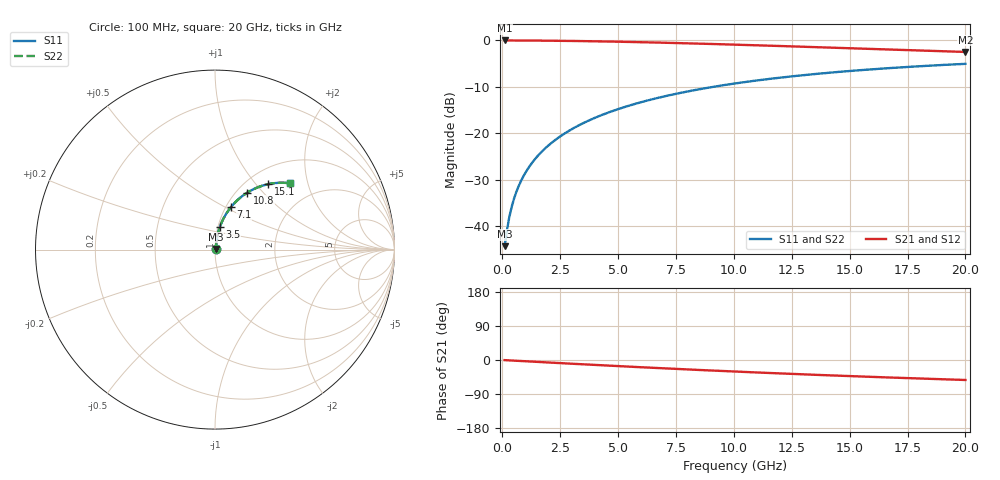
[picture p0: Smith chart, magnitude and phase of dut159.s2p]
! Touchstone file exported from HFSS 2024.1.0
!  File:  C:/UserFiles/LocalFiles/RDL_TSV_Batchsim/temp_RDL_bottom_159_1778697743.aedt
!  Generated:  02:44:59 AM May 14, 2026
!  Design:  RDL_bottom
!  Project:  temp_RDL_bottom_159_1778697743
!  Setup:  Setup1
!  Solution:  Sweep
! Variables:
!  dtsv = 10.80580581um
!  hbump = 3um
!  htsv = 70.64um
!  ldown = 687.54um
!  lrdl = 100um
!  p = 40
!  p1 = 58.94um
!  rhole = 1um
!  t = 450um
!  tdown = 3.98um
!  trdl = 3.915915916um
!  wdown = 12.89um
!  wrdl = 20um
# GHz S MA R 50.000000
! Terminal data exported
! Port[1] = RDL1_T1
! Port[2] = RDL1_T2
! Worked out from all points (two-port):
!   200 points, 100 MHz to 20 GHz, reference 50 ohm
!   highest |S21| = -0.04 dB at 100 MHz (marker M1); lowest = -2.5 dB at 20 GHz (marker M2)
!   |S21| within 3 dB of the highest: start of sweep to end of sweep
!   lowest |S11| = -44.2 dB at 100 MHz (marker M3), VSWR 1.01, Z = 50.5 + j0.387 ohm
!   |S11| at or under -10 dB: start of sweep to 9.118 GHz
!   |S22| runs from -44.2 to -5.1 dB; largest |S21 - S12| = 8.1e-15
!   S11 on the Smith chart (normalised r, x): 100 MHz: 1.01, +0.01; 3.5 GHz: 1.02, +0.26; 7.1 GHz: 1.06, +0.53; 10.8 GHz: 1.12, +0.82; 15.1 GHz: 1.24, +1.16; 20 GHz: 1.45, +1.56
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0.1  0.006143 38.6  0.9952 -0.3  0.9952 -0.3  0.006143 38.6
! Gamma 0 0 0 0
! Port Impedance 50 0 50 0
0.2  0.00909 57.2  0.9951 -0.7  0.9951 -0.7  0.00909 57.2
0.3  0.0125 65.9  0.9949 -1.0  0.9949 -1.0  0.0125 65.9
0.4  0.01604 70.6  0.9947 -1.3  0.9947 -1.3  0.01604 70.6
0.5  0.01963 73.5  0.9946 -1.7  0.9946 -1.7  0.01963 73.5
0.6  0.02325 75.5  0.9943 -2.0  0.9943 -2.0  0.02325 75.5
0.8  0.03052 77.8  0.9939 -2.7  0.9939 -2.7  0.03052 77.8
1.1  0.04148 79.5  0.9931 -3.6  0.9931 -3.6  0.04148 79.5
1.5  0.05614 80.3  0.9917 -5.0  0.9917 -5.0  0.05614 80.3
2.1  0.07813 80.2  0.9889 -6.9  0.9889 -6.9  0.07813 80.2
2.7  0.1 79.4  0.9853 -8.9  0.9853 -8.9  0.1 79.4
3.5  0.129 77.9  0.9793 -11.4  0.9793 -11.4  0.129 77.9
5  0.1821 74.5  0.965 -16.1  0.965 -16.1  0.1821 74.5
6.8  0.2431 70.2  0.9434 -21.5  0.9434 -21.5  0.2432 70.2
7.1  0.253 69.4  0.9395 -22.3  0.9395 -22.3  0.253 69.4
8.5  0.2974 66.0  0.9201 -26.3  0.9201 -26.3  0.2974 66.0
10.1  0.345 62.1  0.8966 -30.6  0.8966 -30.6  0.345 62.1
10.8  0.3647 60.5  0.8859 -32.4  0.8859 -32.4  0.3647 60.5
13.4  0.4314 54.5  0.8458 -38.8  0.8458 -38.8  0.4315 54.6
15.1  0.4697 50.9  0.8198 -42.7  0.8198 -42.7  0.4697 50.9
16.7  0.502 47.6  0.7957 -46.2  0.7957 -46.2  0.502 47.6
20  0.5581 41.4  0.7489 -52.7  0.7489 -52.7  0.5582 41.4
